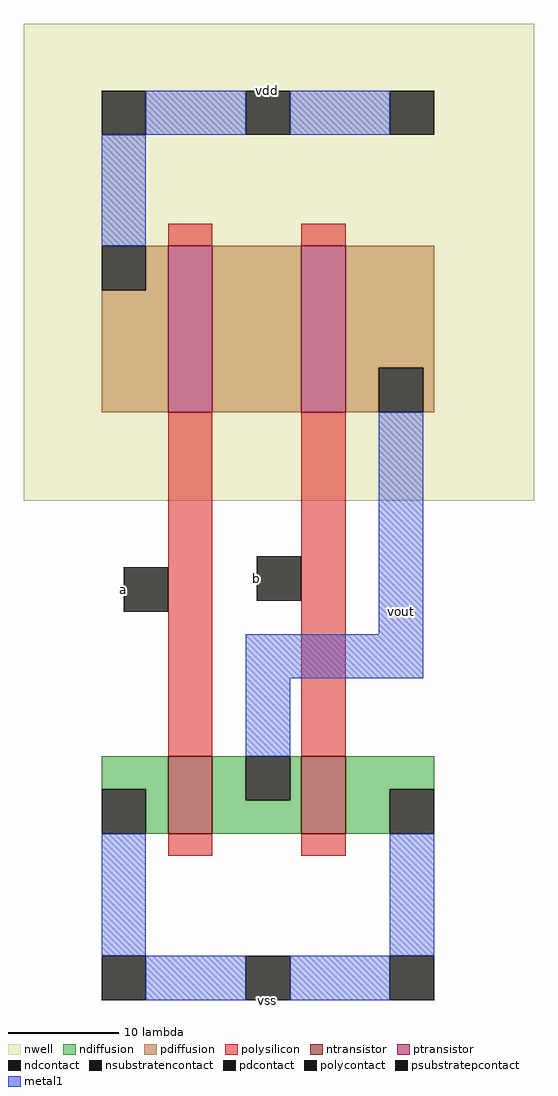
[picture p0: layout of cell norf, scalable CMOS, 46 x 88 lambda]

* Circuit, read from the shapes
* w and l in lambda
.subckt norf a b vdd vout vss
M1 vout a vss vss nfet w=7 l=4
M2 vss b vout vss nfet w=7 l=4
M3 n1 a vdd vdd pfet w=15 l=4
M4 vout b n1 vdd pfet w=15 l=4
.ends

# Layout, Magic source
magic
tech scmos
<< nwell >>
rect -11 -9 35 34
<< polysilicon >>
rect 2 14 6 16
rect 14 14 18 16
rect 2 -32 6 -1
rect 14 -32 18 -1
rect 2 -41 6 -39
rect 14 -41 18 -39
<< ndiffusion >>
rect -4 -35 2 -32
rect 0 -39 2 -35
rect 6 -36 9 -32
rect 13 -36 14 -32
rect 6 -39 14 -36
rect 18 -35 26 -32
rect 18 -39 22 -35
<< pdiffusion >>
rect 0 10 2 14
rect -4 -1 2 10
rect 6 -1 14 14
rect 18 3 26 14
rect 18 -1 21 3
rect 25 -1 26 3
<< metal1 >>
rect 0 24 9 28
rect 13 24 22 28
rect -4 14 0 24
rect 21 -21 25 -1
rect 9 -25 25 -21
rect 9 -32 13 -25
rect -4 -50 0 -39
rect 22 -50 26 -39
rect 0 -54 9 -50
rect 13 -54 22 -50
<< ntransistor >>
rect 2 -39 6 -32
rect 14 -39 18 -32
<< ptransistor >>
rect 2 -1 6 14
rect 14 -1 18 14
<< polycontact >>
rect -2 -19 2 -15
rect 10 -18 14 -14
<< ndcontact >>
rect -4 -39 0 -35
rect 9 -36 13 -32
rect 22 -39 26 -35
<< pdcontact >>
rect -4 10 0 14
rect 21 -1 25 3
<< psubstratepcontact >>
rect -4 -54 0 -50
rect 9 -54 13 -50
rect 22 -54 26 -50
<< nsubstratencontact >>
rect -4 24 0 28
rect 9 24 13 28
rect 22 24 26 28
<< labels >>
rlabel nwell -4 28 26 28 1 vdd
rlabel metal1 -4 -54 26 -54 5 vss
rlabel polycontact -2 -19 -2 -15 7 a
rlabel polycontact 10 -18 10 -14 7 b
rlabel metal1 23 -19 23 -19 1 vout
<< end >>
